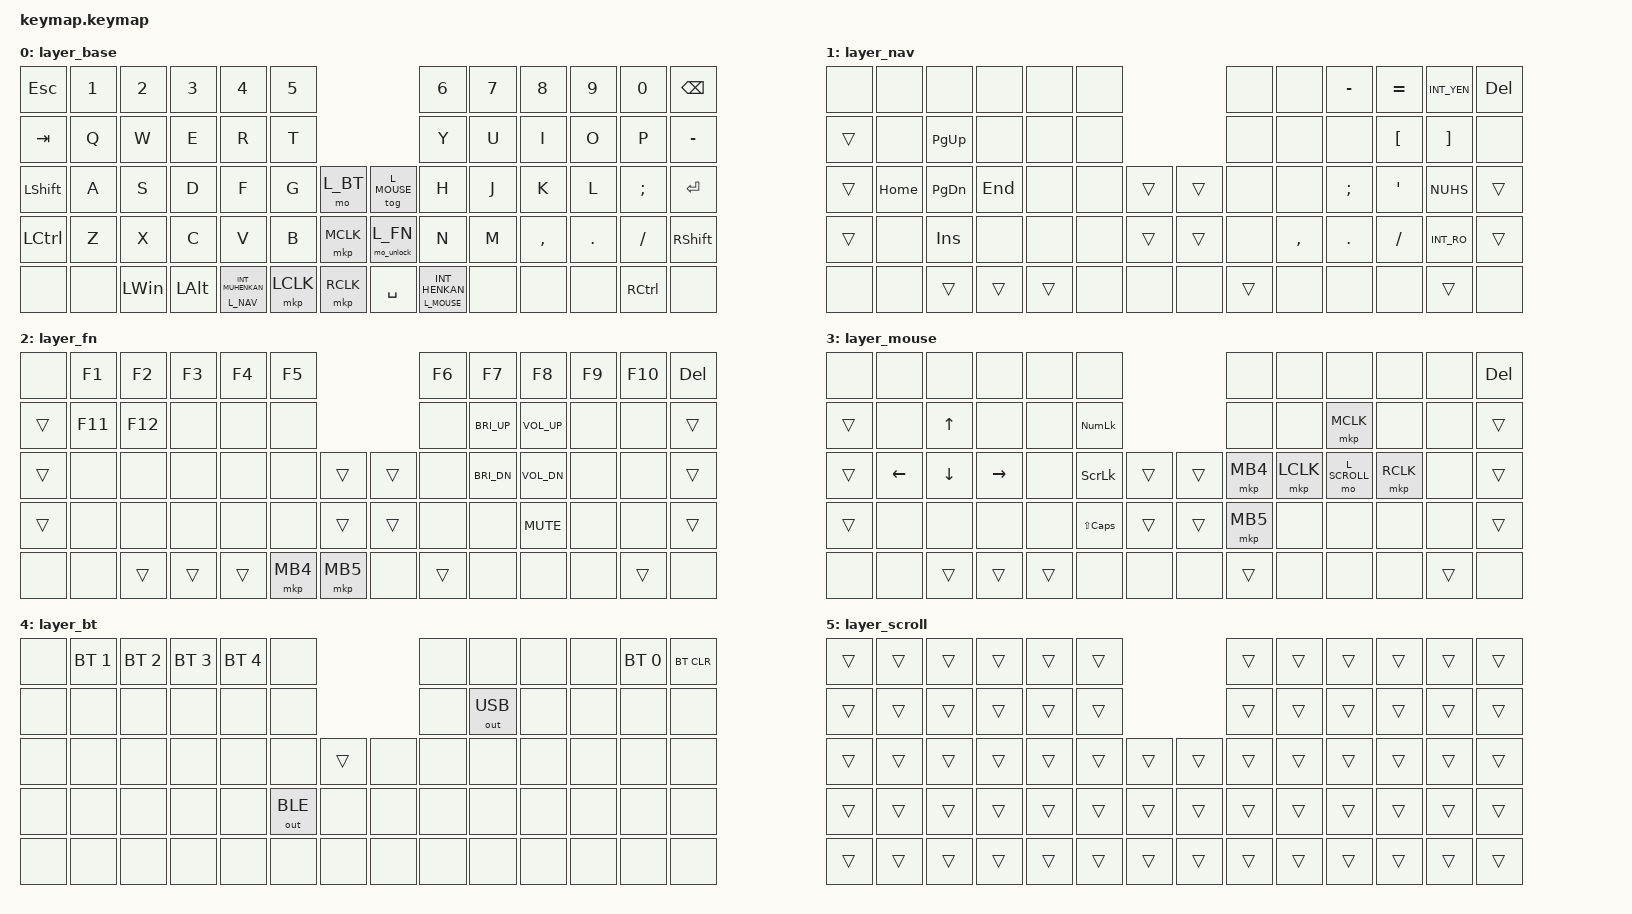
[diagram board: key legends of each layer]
#include <behaviors.dtsi>
#include <dt-bindings/zmk/bt.h>
#include <dt-bindings/zmk/keys.h>
#include <dt-bindings/zmk/outputs.h>
#include <dt-bindings/zmk/pointing.h>
#include "layers.h"

// knttnk/keyballのmykeymapを、torabo-tsuki LPのLサイズに移したキーマップ。
// レイヤーは、layers.hに書いた番号の順に並べる。

// JIS配列のPCで入力される文字に合わせたキー名。
// ZMKのキー名はUS配列の刻印を表すので、JIS配列の刻印に対応する名前をここで付ける。
#define JP_MINS MINUS         /* - */
#define JP_CIRC EQUAL         /* ^ */
#define JP_YEN INT_YEN        /* ¥ */
#define JP_AT LBKT            /* @ */
#define JP_LBRC RBKT          /* [ */
#define JP_SCLN SEMI          /* ; */
#define JP_COLN SQT           /* : */
#define JP_RBRC NUHS          /* ] */
#define JP_COMM COMMA         /* , */
#define JP_DOT DOT            /* . */
#define JP_SLSH FSLH          /* / */
#define JP_BSLS INT_RO        /* バックスラッシュ。「ろ」のキー。 */
#define JP_MHEN INT_MUHENKAN  /* 無変換 */
#define JP_HENK INT_HENKAN    /* 変換 */
#define JP_CAPS LS(CAPS)      /* CapsLock。JIS配列ではShiftと同時に押す。 */

/ {
    behaviors {
        // 押している間だけレイヤーを有効にする。押したときにマウスのレイヤーの固定も解除する。
        // 実装はsrc/behavior_mo_unlock.cにある。
        mo_unlock: mo_unlock {
            compatible = "zmk,behavior-momentary-layer-unlock";
            #binding-cells = <1>;
            display-name = "Momentary Layer Unlock";
            unlock-layers = <L_MOUSE>;
        };

        // キーを送る。ただし、スクロール中にボールを閾値以上動かしていたら何も送らない。
        // 実装はsrc/behavior_kp_unless_moved.cにある。
        kp_unless_moved: kp_unless_moved {
            compatible = "zmk,behavior-kp-unless-moved";
            #binding-cells = <1>;
            display-name = "Key Press Unless Moved";
            // センサーの移動量の合計で指定する。608CPIなので、8はボールの表面で約0.3mmにあたる。
            // 手が触れて少し動いただけなら無変換を送り、スクロールしたら送らないための値。
            motion-threshold = <8>;
        };

        // 親指用。タップで無変換か変換を送り、ホールドでレイヤーを有効にする。
        //   タップ: 他のキーを押さず、ボールも回さずに離したとき。押していた長さは問わない。
        //           離す前に次のキーを押し始めても、先に親指を離せばタップになる。
        //   ホールド: 親指を押している間に、他のキーを押して離したとき。
        //             150ms以上押してから他のキーを押したときも、ホールドになる。
        // 押した直後からレイヤーを有効にするので、判定を待たずにボールがスクロールになる。
        // 押してから150ms以内に押した他のキーは、判定が決まるまで出力を待たせる。
        lt_ime: lt_ime {
            compatible = "zmk,behavior-hold-tap";
            #binding-cells = <2>;
            flavor = "balanced";
            tapping-term-ms = <150>;
            hold-while-undecided;
            retro-tap;
            bindings = <&mo_unlock>, <&kp_unless_moved>;
        };
    };

    keymap {
        compatible = "zmk,keymap";

        // 文字入力。3行目の内側は、左がBluetoothのレイヤー、右がマウスのレイヤーの固定と解除。
        layer_base {
            bindings = <
&kp ESC    &kp N1  &kp N2    &kp N3    &kp N4                 &kp N5                                    &kp N6                   &kp N7  &kp N8     &kp N9   &kp N0     &kp BSPC
&kp TAB    &kp Q   &kp W     &kp E     &kp R                  &kp T                                     &kp Y                    &kp U   &kp I      &kp O    &kp P      &kp JP_MINS
&kp LSHFT  &kp A   &kp S     &kp D     &kp F                  &kp G      &mo L_BT   &tog L_MOUSE        &kp H                    &kp J   &kp K      &kp L    &kp SEMI   &kp ENTER
&kp LCTRL  &kp Z   &kp X     &kp C     &kp V                  &kp B      &mkp MCLK  &mo_unlock L_FN     &kp N                    &kp M   &kp COMMA  &kp DOT  &kp FSLH   &kp RSHFT
&none      &none   &kp LWIN  &kp LALT  &lt_ime L_NAV JP_MHEN  &mkp LCLK  &mkp RCLK  &kp SPACE           &lt_ime L_MOUSE JP_HENK  &none   &none      &none    &kp RCTRL  &none
            >;
        };

        // ナビゲーションと記号。有効な間はボールがスクロールになる。
        layer_nav {
            bindings = <
&none   &none     &none      &none    &none   &none                   &none   &none        &kp JP_MINS  &kp JP_CIRC  &kp JP_YEN   &kp DEL
&trans  &none     &kp PG_UP  &none    &none   &none                   &none   &none        &none        &kp JP_AT    &kp JP_LBRC  &none
&trans  &kp HOME  &kp PG_DN  &kp END  &none   &none   &trans  &trans  &none   &none        &kp JP_SCLN  &kp JP_COLN  &kp JP_RBRC  &trans
&trans  &none     &kp INS    &none    &none   &none   &trans  &trans  &none   &kp JP_COMM  &kp JP_DOT   &kp JP_SLSH  &kp JP_BSLS  &trans
&none   &none     &trans     &trans   &trans  &none   &none   &none   &trans  &none        &none        &none        &trans       &none
            >;
        };

        // ファンクションキー、画面の明るさ、音量
        layer_fn {
            bindings = <
&none   &kp F1   &kp F2   &kp F3  &kp F4  &kp F5                       &kp F6  &kp F7        &kp F8        &kp F9  &kp F10  &kp DEL
&trans  &kp F11  &kp F12  &none   &none   &none                        &none   &kp C_BRI_UP  &kp C_VOL_UP  &none   &none    &trans
&trans  &none    &none    &none   &none   &none     &trans    &trans   &none   &kp C_BRI_DN  &kp C_VOL_DN  &none   &none    &trans
&trans  &none    &none    &none   &none   &none     &trans    &trans   &none   &none         &kp C_MUTE    &none   &none    &trans
&none   &none    &trans   &trans  &trans  &mkp MB4  &mkp MB5  &none    &trans  &none         &none         &none   &trans   &none
            >;
        };

        // 矢印キーとマウスボタン。Kを押している間はボールがスクロールになる。
        // 3行目内側の右のキーで固定と解除を切り替える。
        // 無変換の親指キーか、ファンクションのレイヤーのキーを押しても解除される。
        layer_mouse {
            bindings = <
&none   &none     &none     &none      &none   &none                        &none     &none      &none         &none      &none   &kp DEL
&trans  &none     &kp UP    &none      &none   &kp KP_NUM                   &none     &none      &mkp MCLK     &none      &none   &trans
&trans  &kp LEFT  &kp DOWN  &kp RIGHT  &none   &kp SLCK     &trans  &trans  &mkp MB4  &mkp LCLK  &mo L_SCROLL  &mkp RCLK  &none   &trans
&trans  &none     &none     &none      &none   &kp JP_CAPS  &trans  &trans  &mkp MB5  &none      &none         &none      &none   &trans
&none   &none     &trans    &trans     &trans  &none        &none   &none   &trans    &none      &none         &none      &trans  &none
            >;
        };

        // Bluetoothの操作。3行目内側の左のキーを押している間だけ有効になる。他のキーは効かない。
        //   0から4: 接続先のプロファイルを選ぶ。
        //   右上: 選んでいるプロファイルのペアリング情報を消す。
        //   U: USBで接続したPCへ出力する。 B: Bluetoothの接続先へ出力する。
        layer_bt {
            bindings = <
&none  &bt BT_SEL 1  &bt BT_SEL 2  &bt BT_SEL 3  &bt BT_SEL 4  &none                        &none  &none         &none  &none  &bt BT_SEL 0  &bt BT_CLR
&none  &none         &none         &none         &none         &none                        &none  &out OUT_USB  &none  &none  &none         &none
&none  &none         &none         &none         &none         &none         &trans  &none  &none  &none         &none  &none  &none         &none
&none  &none         &none         &none         &none         &out OUT_BLE  &none   &none  &none  &none         &none  &none  &none         &none
&none  &none         &none         &none         &none         &none         &none   &none  &none  &none         &none  &none  &none         &none
            >;
        };

        // スクロール専用。キーは下のレイヤーのまま、ボールだけがスクロールになる。
        layer_scroll {
            bindings = <
&trans  &trans  &trans  &trans  &trans  &trans                  &trans  &trans  &trans  &trans  &trans  &trans
&trans  &trans  &trans  &trans  &trans  &trans                  &trans  &trans  &trans  &trans  &trans  &trans
&trans  &trans  &trans  &trans  &trans  &trans  &trans  &trans  &trans  &trans  &trans  &trans  &trans  &trans
&trans  &trans  &trans  &trans  &trans  &trans  &trans  &trans  &trans  &trans  &trans  &trans  &trans  &trans
&trans  &trans  &trans  &trans  &trans  &trans  &trans  &trans  &trans  &trans  &trans  &trans  &trans  &trans
            >;
        };
    };
};
